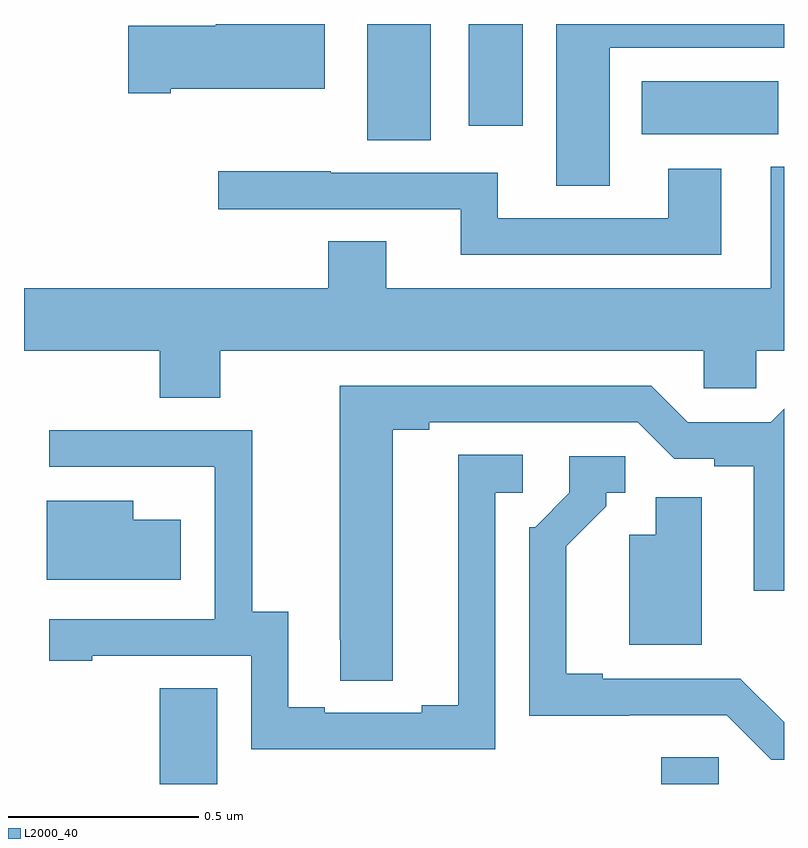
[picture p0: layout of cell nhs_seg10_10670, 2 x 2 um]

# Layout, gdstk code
import gdstk
lib = gdstk.Library(unit=1e-6, precision=1e-09)
def R(c, l, rs):  # rectangles x0, y0, x1, y1
    for r in rs: c.add(gdstk.rectangle(r[:2], r[2:], *l))
def P(c, l, *ps):  # polygons
    for p in ps: c.add(gdstk.Polygon(p, *l))
L2000_40 = (2000, 40)

nhs_seg10_10670 = lib.new_cell('nhs_seg10_10670')
R(nhs_seg10_10670, L2000_40, [(245.357,1308.5,245.509,1308.752), (246.677,1308.5,246.828,1308.57), (245.903,1310.194,246.07,1310.5), (246.626,1310.21,246.985,1310.35), (246.17,1310.232,246.313,1310.5)])
P(nhs_seg10_10670, L2000_40, [(246.541,1310.438),(247,1310.438),(247,1310.5),(246.401,1310.5),(246.401,1310.074),(246.541,1310.074)],
  [(245.386,1310.33),(245.791,1310.33),(245.791,1310.5),(245.504,1310.5),(245.504,1310.496),(245.274,1310.496),(245.274,1310.318),(245.386,1310.318)],
  [(245.517,1309.64),(246.789,1309.64),(246.789,1309.542),(246.927,1309.542),(246.927,1309.64),(247,1309.64),(247,1310.125),(246.965,1310.125),(246.965,1309.804),(245.953,1309.804),(245.953,1309.928),(245.801,1309.928),(245.801,1309.804),(245,1309.804),(245,1309.64),(245.357,1309.64),(245.357,1309.516),(245.517,1309.516)],
  [(246.835,1310.119),(246.695,1310.119),(246.695,1309.989),(246.247,1309.989),(246.247,1310.109),(245.807,1310.109),(245.807,1310.112),(245.511,1310.112),(245.511,1310.013),(246.149,1310.013),(246.149,1309.893),(246.835,1309.893)],
  [(245.971,1309.432),(246.067,1309.432),(246.067,1309.452),(246.615,1309.452),(246.711,1309.356),(246.816,1309.356),(246.816,1309.336),(246.92,1309.336),(246.92,1309.008),(247,1309.008),(247,1309.487),(246.965,1309.452),(246.747,1309.452),(246.651,1309.548),(245.831,1309.548),(245.831,1308.88),(245.832,1308.88),(245.832,1308.772),(245.971,1308.772)],
  [(246.24,1309.266),(246.313,1309.266),(246.313,1309.367),(246.143,1309.367),(246.143,1308.707),(246.047,1308.707),(246.047,1308.687),(245.791,1308.687),(245.791,1308.702),(245.695,1308.702),(245.695,1308.953),(245.601,1308.953),(245.601,1309.431),(245.067,1309.431),(245.067,1309.335),(245.501,1309.335),(245.501,1309.334),(245.502,1309.334),(245.502,1308.933),(245.067,1308.933),(245.067,1308.825),(245.179,1308.825),(245.179,1308.837),(245.598,1308.837),(245.598,1308.591),(246.24,1308.591)],
  [(247,1308.662),(246.885,1308.777),(246.523,1308.777),(246.523,1308.79),(246.427,1308.79),(246.427,1309.126),(246.532,1309.231),(246.532,1309.266),(246.582,1309.266),(246.582,1309.362),(246.435,1309.362),(246.435,1309.266),(246.345,1309.176),(246.33,1309.176),(246.33,1308.68),(246.593,1308.68),(246.593,1308.681),(246.849,1308.681),(246.966,1308.564),(247,1308.564)],
  [(246.784,1309.254),(246.662,1309.254),(246.662,1309.156),(246.593,1309.156),(246.593,1308.866),(246.784,1308.866)],
  [(245.413,1309.195),(245.287,1309.195),(245.287,1309.246),(245.06,1309.246),(245.06,1309.037),(245.413,1309.037)])

lib.write_gds('nhs_seg10_10670.gds')
